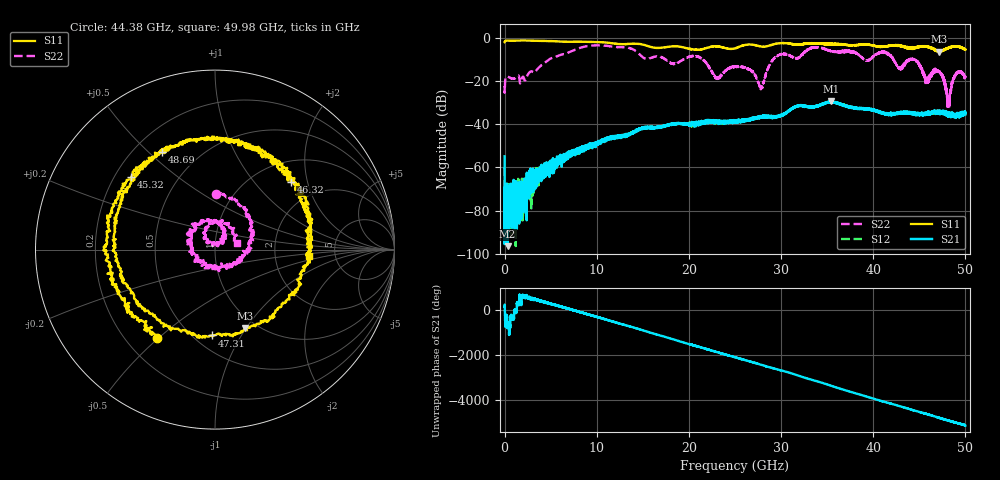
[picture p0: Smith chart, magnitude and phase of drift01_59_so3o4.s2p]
!Created with skrf (http://scikit-rf.org).
# Hz S RI R 50.0
!freq ReS11 ImS11 ReS21 ImS21 ReS12 ImS12 ReS22 ImS22
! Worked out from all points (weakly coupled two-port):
!   10001 points, 300 kHz to 50 GHz, reference 50 ohm
!   highest |S21| = -29.51 dB at 35.4 GHz (marker M1); lowest = -96.4 dB at 325.3 MHz (marker M2)
!   lowest |S11| = -6.6 dB at 47.15 GHz (marker M3), VSWR 2.76, Z = 44.2 - j49.4 ohm
!   |S11| at or under -10 dB: nowhere
!   |S22| runs from -32.5 to -3.6 dB; largest |S21 - S12| = 0.0038
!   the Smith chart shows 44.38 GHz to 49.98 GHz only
!   S11 on the Smith chart (normalised r, x): 44.38 GHz: 0.33, -0.49; 45.32 GHz: 0.27, +0.35; 46.32 GHz: 1.44, +1.59; 47.31 GHz: 0.61, -0.76; 48.69 GHz: 0.31, +0.55; 49.98 GHz: 3.18, -0.33
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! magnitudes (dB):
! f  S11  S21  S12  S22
! 300 kHz  -2.1  -54.9  -59.9  -22.4
! 325.3 MHz  -1.4  -96.4  -74.8  -18.0
! 8.335 GHz  -1.9  -51.1  -51.5  -4.5
! 16.67 GHz  -4.8  -41.4  -41.4  -8.7
! 20.99 GHz  -5.6  -39.9  -39.4  -8.8
! 23.08 GHz  -4.1  -38.8  -39.1  -18.9
! 25 GHz  -5.0  -39.1  -38.6  -13.6
! 27.85 GHz  -4.2  -36.7  -36.7  -23.2
! 29.44 GHz  -2.9  -37.1  -36.3  -9.0
! 33.34 GHz  -2.6  -32.0  -31.9  -4.8
! 35.4 GHz  -3.1  -29.5  -29.7  -6.3
! 41.67 GHz  -3.9  -35.4  -35.5  -8.0
! 42.89 GHz  -3.8  -34.8  -34.6  -14.1
! 44.38 GHz  -4.6  -35.0  -35.2  -10.1
! 45.32 GHz  -4.2  -35.5  -35.2  -15.4
! 46.32 GHz  -4.9  -35.1  -34.6  -17.4
! 47.15 GHz  -6.6  -34.7  -34.1  -16.0
! 47.31 GHz  -6.4  -34.5  -34.3  -16.4
! 48.14 GHz  -4.9  -34.6  -35.7  -27.9
! 48.69 GHz  -4.2  -35.7  -35.6  -19.3
! 49.98 GHz  -5.6  -35.2  -35.2  -18.0
! 50 GHz  -5.6  -35.5  -34.4  -18.2
